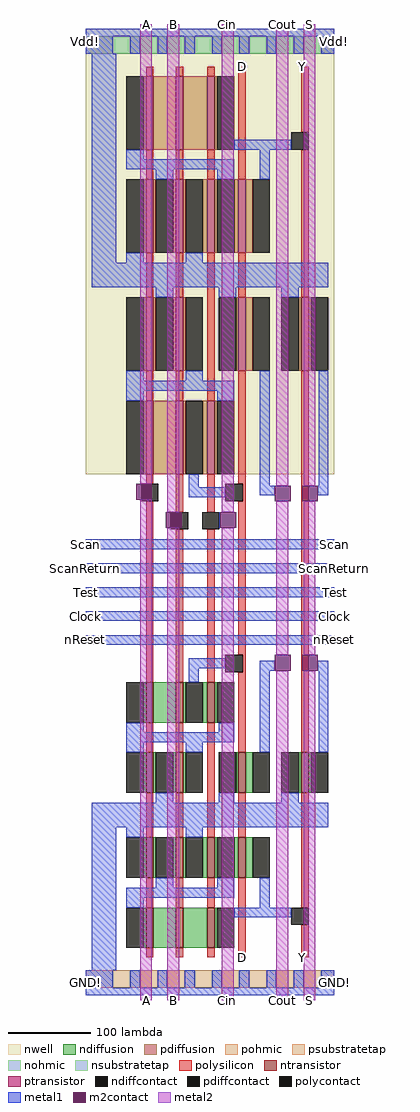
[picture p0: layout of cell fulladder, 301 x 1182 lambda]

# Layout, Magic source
magic
tech tsmc180
<< nwell >>
rect 0 637 301 1176
<< polysilicon >>
rect 73 1119 82 1130
rect 109 1119 118 1130
rect 147 1119 156 1130
rect 73 994 82 1030
rect 109 994 118 1030
rect 147 994 156 1030
rect 185 994 194 1130
rect 261 1051 270 1130
rect 73 851 82 905
rect 109 851 118 905
rect 73 726 82 762
rect 109 726 118 762
rect 147 726 156 905
rect 185 851 194 905
rect 261 851 270 1030
rect 73 625 82 637
rect 73 385 82 604
rect 109 591 118 637
rect 147 591 156 637
rect 185 625 194 762
rect 190 604 194 625
rect 109 385 118 570
rect 147 385 156 570
rect 185 418 194 604
rect 190 397 194 418
rect 73 300 82 336
rect 109 300 118 336
rect 73 197 82 251
rect 109 197 118 251
rect 147 197 156 336
rect 185 300 194 397
rect 261 300 270 762
rect 185 197 194 251
rect 73 112 82 148
rect 109 112 118 148
rect 147 112 156 148
rect 73 52 82 63
rect 109 52 118 63
rect 147 52 156 63
rect 185 52 194 148
rect 261 112 270 251
rect 261 52 270 91
<< ndiffusion >>
rect 70 336 73 385
rect 82 336 109 385
rect 118 336 121 385
rect 142 336 147 385
rect 156 336 159 385
rect 70 251 73 300
rect 82 251 85 300
rect 106 251 109 300
rect 118 251 121 300
rect 182 251 185 300
rect 194 251 202 300
rect 258 251 261 300
rect 270 251 273 300
rect 70 148 73 197
rect 82 148 85 197
rect 106 148 109 197
rect 118 148 121 197
rect 142 148 147 197
rect 156 148 159 197
rect 180 148 185 197
rect 194 148 202 197
rect 70 63 73 112
rect 82 63 109 112
rect 118 63 147 112
rect 156 63 159 112
<< pdiffusion >>
rect 70 1030 73 1119
rect 82 1030 109 1119
rect 118 1030 147 1119
rect 156 1030 159 1119
rect 70 905 73 994
rect 82 905 85 994
rect 106 905 109 994
rect 118 905 121 994
rect 142 905 147 994
rect 156 905 159 994
rect 180 905 185 994
rect 194 905 202 994
rect 70 762 73 851
rect 82 762 85 851
rect 106 762 109 851
rect 118 762 121 851
rect 182 762 185 851
rect 194 762 202 851
rect 258 762 261 851
rect 270 762 273 851
rect 70 637 73 726
rect 82 637 109 726
rect 118 637 121 726
rect 142 637 147 726
rect 156 637 159 726
<< pohmic >>
rect 0 15 33 36
rect 54 15 66 36
rect 87 15 99 36
rect 120 15 132 36
rect 153 15 165 36
rect 186 15 198 36
rect 219 15 231 36
rect 252 15 264 36
rect 285 15 301 36
<< nohmic >>
rect 0 1146 33 1167
rect 54 1146 66 1167
rect 87 1146 99 1167
rect 120 1146 132 1167
rect 153 1146 165 1167
rect 186 1146 198 1167
rect 219 1146 231 1167
rect 252 1146 264 1167
rect 285 1146 301 1167
<< ntransistor >>
rect 73 336 82 385
rect 109 336 118 385
rect 147 336 156 385
rect 73 251 82 300
rect 109 251 118 300
rect 185 251 194 300
rect 261 251 270 300
rect 73 148 82 197
rect 109 148 118 197
rect 147 148 156 197
rect 185 148 194 197
rect 73 63 82 112
rect 109 63 118 112
rect 147 63 156 112
<< ptransistor >>
rect 73 1030 82 1119
rect 109 1030 118 1119
rect 147 1030 156 1119
rect 73 905 82 994
rect 109 905 118 994
rect 147 905 156 994
rect 185 905 194 994
rect 73 762 82 851
rect 109 762 118 851
rect 185 762 194 851
rect 261 762 270 851
rect 73 637 82 726
rect 109 637 118 726
rect 147 637 156 726
<< polycontact >>
rect 249 1030 270 1051
rect 67 604 88 625
rect 169 604 190 625
rect 103 570 124 591
rect 141 570 162 591
rect 169 397 190 418
rect 249 91 270 112
<< ndiffcontact >>
rect 49 336 70 385
rect 121 336 142 385
rect 159 336 180 385
rect 49 251 70 300
rect 85 251 106 300
rect 121 251 142 300
rect 161 251 182 300
rect 202 251 223 300
rect 237 251 258 300
rect 273 251 294 300
rect 49 148 70 197
rect 85 148 106 197
rect 121 148 142 197
rect 159 148 180 197
rect 202 148 223 197
rect 49 63 70 112
rect 159 63 180 112
<< pdiffcontact >>
rect 49 1030 70 1119
rect 159 1030 180 1119
rect 49 905 70 994
rect 85 905 106 994
rect 121 905 142 994
rect 159 905 180 994
rect 202 905 223 994
rect 49 762 70 851
rect 85 762 106 851
rect 121 762 142 851
rect 161 762 182 851
rect 202 762 223 851
rect 237 762 258 851
rect 273 762 294 851
rect 49 637 70 726
rect 121 637 142 726
rect 159 637 180 726
<< psubstratetap >>
rect 33 15 54 36
rect 66 15 87 36
rect 99 15 120 36
rect 132 15 153 36
rect 165 15 186 36
rect 198 15 219 36
rect 231 15 252 36
rect 264 15 285 36
<< nsubstratetap >>
rect 33 1146 54 1167
rect 66 1146 87 1167
rect 99 1146 120 1167
rect 132 1146 153 1167
rect 165 1146 186 1167
rect 198 1146 219 1167
rect 231 1146 252 1167
rect 264 1146 285 1167
<< metal1 >>
rect 0 1167 301 1176
rect 0 1146 33 1167
rect 54 1146 66 1167
rect 87 1146 99 1167
rect 120 1146 132 1167
rect 153 1146 165 1167
rect 186 1146 198 1167
rect 219 1146 231 1167
rect 252 1146 264 1167
rect 285 1146 301 1167
rect 7 893 37 1146
rect 180 1030 249 1042
rect 49 1018 70 1030
rect 49 1006 180 1018
rect 85 994 106 1006
rect 159 994 180 1006
rect 211 994 223 1030
rect 49 893 70 905
rect 121 893 142 905
rect 7 863 294 893
rect 85 851 106 863
rect 161 851 182 863
rect 237 851 258 863
rect 49 750 70 762
rect 121 750 142 762
rect 49 738 180 750
rect 49 726 70 738
rect 159 726 180 738
rect 125 621 137 637
rect 125 609 169 621
rect 211 623 223 762
rect 282 623 294 762
rect 211 611 229 623
rect 281 611 294 623
rect 162 572 163 591
rect 0 546 301 558
rect 0 517 301 529
rect 0 488 301 500
rect 0 459 301 471
rect 0 430 301 442
rect 125 402 169 414
rect 125 385 137 402
rect 211 399 229 411
rect 281 399 294 411
rect 49 324 70 336
rect 161 324 180 336
rect 49 312 180 324
rect 49 300 70 312
rect 121 300 142 312
rect 211 300 223 399
rect 282 300 294 399
rect 85 239 106 251
rect 161 239 180 251
rect 237 239 258 251
rect 7 209 294 239
rect 7 36 37 209
rect 49 197 70 209
rect 121 197 142 209
rect 85 136 106 148
rect 159 136 180 148
rect 49 124 180 136
rect 49 112 70 124
rect 211 112 223 148
rect 180 100 249 112
rect 0 15 33 36
rect 54 15 66 36
rect 87 15 99 36
rect 120 15 132 36
rect 153 15 165 36
rect 186 15 198 36
rect 219 15 231 36
rect 252 15 264 36
rect 285 15 301 36
rect 0 6 301 15
<< m2contact >>
rect 61 606 67 625
rect 67 606 80 625
rect 229 604 248 623
rect 262 604 281 623
rect 97 572 103 591
rect 103 572 116 591
rect 163 572 182 591
rect 229 399 248 418
rect 262 399 281 418
<< metal2 >>
rect 66 625 80 1182
rect 66 0 80 606
rect 99 591 113 1182
rect 165 591 179 1182
rect 231 623 245 1182
rect 264 623 278 1182
rect 99 0 113 572
rect 165 0 179 572
rect 231 418 245 604
rect 264 418 278 604
rect 231 0 245 399
rect 264 0 278 399
<< labels >>
rlabel polysilicon 190 1130 190 1130 1 D
rlabel polysilicon 190 52 190 52 1 D
rlabel polysilicon 263 1130 263 1130 1 Y
rlabel polysilicon 263 52 263 52 1 Y
rlabel metal2 264 1182 278 1182 5 S
rlabel metal2 231 1182 245 1182 5 Cout
rlabel metal2 165 1182 179 1182 5 Cin
rlabel metal2 99 1182 113 1182 5 B
rlabel metal2 66 1182 80 1182 5 A
rlabel metal2 66 0 80 0 1 A
rlabel metal2 99 0 113 0 1 B
rlabel metal2 165 0 179 0 1 Cin
rlabel metal2 231 0 245 0 1 Cout
rlabel metal2 264 0 278 0 1 S
rlabel metal1 0 1146 0 1176 3 Vdd!
rlabel metal1 301 1146 301 1176 7 Vdd!
rlabel metal1 0 6 0 36 3 GND!
rlabel metal1 301 6 301 36 7 GND!
rlabel metal1 0 546 0 558 3 Scan
rlabel metal1 0 517 0 529 3 ScanReturn
rlabel metal1 0 488 0 500 3 Test
rlabel metal1 0 459 0 471 3 Clock
rlabel metal1 0 430 0 442 3 nReset
rlabel metal1 301 546 301 558 7 Scan
rlabel metal1 301 517 301 529 7 ScanReturn
rlabel metal1 301 488 301 500 7 Test
rlabel metal1 301 459 301 471 7 Clock
rlabel metal1 301 430 301 442 7 nReset
<< end >>
